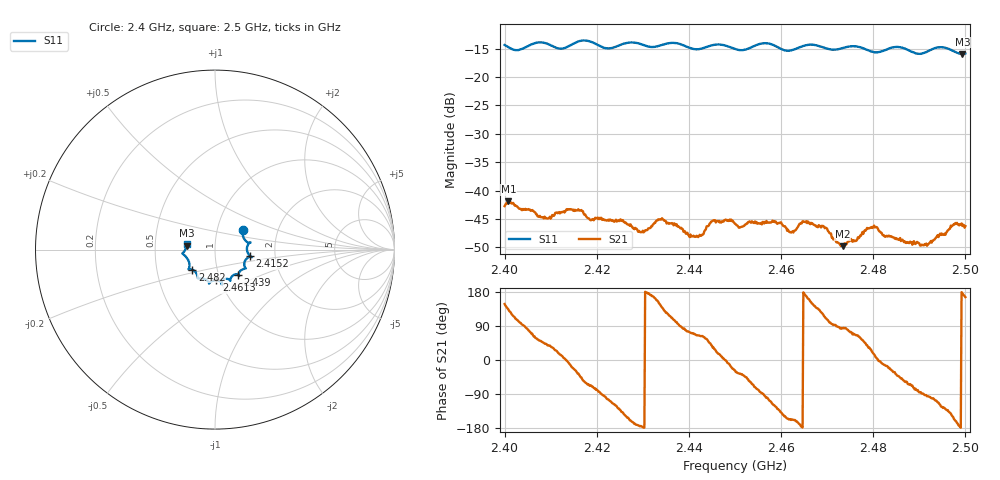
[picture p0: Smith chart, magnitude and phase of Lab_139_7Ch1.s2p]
# Hz S RI R 50
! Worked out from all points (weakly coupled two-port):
!   601 points, 2.4 GHz to 2.5 GHz, reference 50 ohm
!   highest |S21| = -41.90 dB at 2.4008 GHz (marker M1); lowest = -49.8 dB at 2.4733 GHz (marker M2)
!   lowest |S11| = -15.9 dB at 2.4993 GHz (marker M3), VSWR 1.38, Z = 36.3 + j1.61 ohm
!   |S11| at or under -10 dB: start of sweep to end of sweep
!   S12 and S22 are empty: the file has one direction only
!   S11 on the Smith chart (normalised r, x): 2.4 GHz: 1.33, +0.31; 2.4152 GHz: 1.48, -0.11; 2.439 GHz: 1.24, -0.36; 2.4613 GHz: 0.96, -0.34; 2.482 GHz: 0.76, -0.17; 2.5 GHz: 0.73, +0.05
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2.4e9  0.1557 0.1114  -0.00616 0.00389  0 0  0 0
2.400833e9  0.1541 0.0987  -0.0055 0.00585  0 0  0 0
2.409e9  0.1943 0.039  0.00422 0.00389  0 0  0 0
2.415167e9  0.1951 -0.0366  0.00599 -0.0028  0 0  0 0
2.416667e9  0.2046 -0.0426  0.00468 -0.00484  0 0  0 0
2.422333e9  0.1667 -0.064  -0.00128 -0.0053  0 0  0 0
2.429333e9  0.1651 -0.1062  -0.0043 -0.000385  0 0  0 0
2.433333e9  0.1325 -0.1327  -0.005 0.00247  0 0  0 0
2.439e9  0.1279 -0.1391  0.000525 0.00437  0 0  0 0
2.441667e9  0.1015 -0.1432  0.00168 0.00363  0 0  0 0
2.445167e9  0.0839 -0.1716  0.00457 0.00294  0 0  0 0
2.45e9  0.0682 -0.163  0.00452 -0.00236  0 0  0 0
2.456667e9  0.0395 -0.1947  -0.000728 -0.00514  0 0  0 0
2.461333e9  0.00757 -0.1703  -0.00398 -0.0019  0 0  0 0
2.466667e9  -0.033 -0.1899  -0.00436 0.00261  0 0  0 0
2.473333e9  -0.0807 -0.1606  0.000352 0.00322  0 0  0 0
2.479167e9  -0.1019 -0.1361  0.00392 0.00253  0 0  0 0
2.482e9  -0.1266 -0.112  0.00401 -0.000706  0 0  0 0
2.483333e9  -0.1396 -0.11  0.00372 -0.00145  0 0  0 0
2.491333e9  -0.1585 -0.0437  -0.000145 -0.00332  0 0  0 0
2.499333e9  -0.1583 0.0217  -0.00486 0.00032  0 0  0 0
2.5e9  -0.1576 0.0337  -0.00471 0.00119  0 0  0 0
